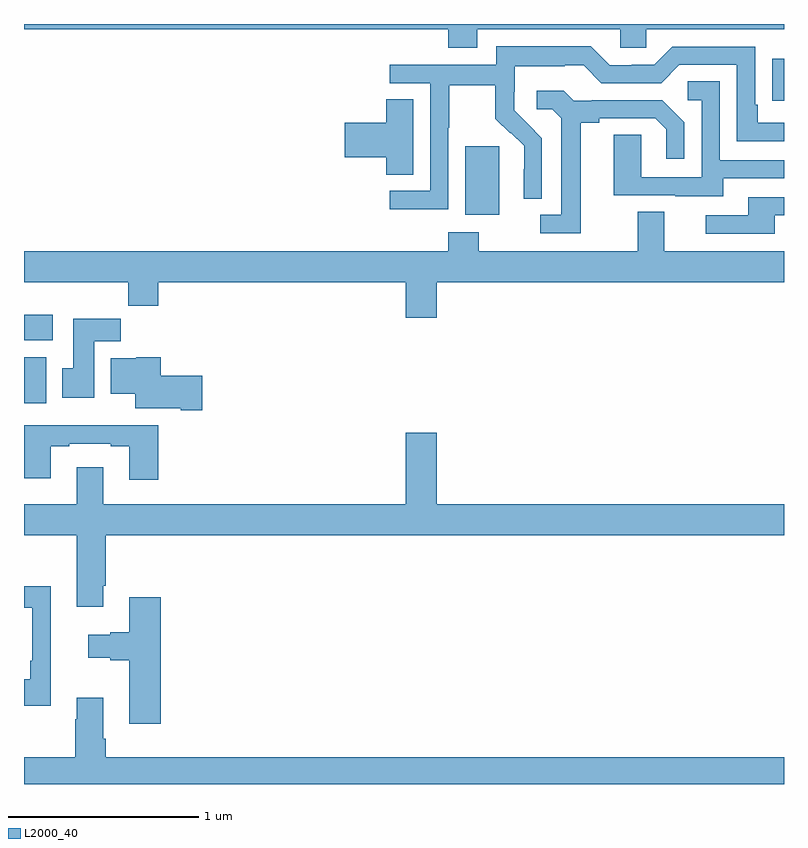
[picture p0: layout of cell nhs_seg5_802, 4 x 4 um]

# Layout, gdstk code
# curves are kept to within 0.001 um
import gdstk
lib = gdstk.Library(unit=1e-6, precision=1e-09)
def R(c, l, rs):  # rectangles x0, y0, x1, y1
    for r in rs: c.add(gdstk.rectangle(r[:2], r[2:], *l))
def P(c, l, *ps):  # polygons
    for p in ps: c.add(gdstk.Polygon(p, *l))
L2000_40 = (2000, 40)

nhs_seg5_802 = lib.new_cell('nhs_seg5_802')
R(nhs_seg5_802, L2000_40, [(163,842.804,163.117,843.046), (163,843.134,163.15,843.268), (165.323,843.794,165.502,844.155), (166.939,844.396,167,844.615)])
P(nhs_seg5_802, L2000_40, [(165.385,844.772),(166.137,844.772),(166.137,844.674),(166.275,844.674),(166.275,844.772),(167,844.772),(167,844.799),(163,844.799),(163,844.772),(165.233,844.772),(165.233,844.673),(165.385,844.673)],
  [(165.234,844.252),(165.237,844.252),(165.237,844.476),(165.481,844.476),(165.481,844.301),(165.558,844.224),(165.561,844.227),(165.632,844.157),(165.632,844.034),(165.63,844.034),(165.63,843.88),(165.726,843.88),(165.726,844.198),(165.58,844.346),(165.58,844.443),(165.582,844.443),(165.582,844.577),(165.845,844.577),(165.845,844.581),(165.945,844.581),(166.038,844.488),(166.353,844.488),(166.449,844.584),(166.752,844.584),(166.752,844.182),(167,844.182),(167,844.278),(166.861,844.278),(166.861,844.375),(166.848,844.375),(166.848,844.68),(166.413,844.68),(166.317,844.584),(166.199,844.584),(166.199,844.581),(166.083,844.581),(165.983,844.681),(165.486,844.681),(165.486,844.584),(164.925,844.584),(164.925,844.488),(165.138,844.488),(165.138,843.921),(164.925,843.921),(164.925,843.823),(165.234,843.823)],
  [(166.681,843.987),(167,843.987),(167,844.083),(166.662,844.083),(166.662,844.499),(166.494,844.499),(166.494,844.398),(166.566,844.398),(166.566,843.993),(166.248,843.993),(166.248,844.217),(166.103,844.217),(166.103,843.897),(166.427,843.897),(166.427,843.893),(166.681,843.893)],
  [(165.931,844.28),(166.027,844.28),(166.027,844.302),(166.322,844.302),(166.379,844.245),(166.379,844.089),(166.476,844.089),(166.476,844.282),(166.36,844.398),(165.988,844.398),(165.988,844.395),(165.894,844.395),(165.842,844.447),(165.699,844.447),(165.699,844.35),(165.78,844.35),(165.827,844.303),(165.827,843.795),(165.717,843.795),(165.717,843.699),(165.931,843.699)],
  [(165.049,844.403),(164.906,844.403),(164.906,844.28),(164.688,844.28),(164.688,844.097),(164.906,844.097),(164.906,844.006),(165.049,844.006)],
  [(166.951,843.792),(167,843.792),(167,843.888),(166.811,843.888),(166.811,843.792),(166.587,843.792),(166.587,843.696),(166.951,843.696)],
  [(165.172,843.44),(167,843.44),(167,843.604),(166.369,843.604),(166.369,843.812),(166.229,843.812),(166.229,843.604),(165.393,843.604),(165.393,843.703),(165.233,843.703),(165.233,843.604),(163,843.604),(163,843.44),(163.549,843.44),(163.549,843.316),(163.706,843.316),(163.706,843.44),(165.008,843.44),(165.008,843.252),(165.172,843.252)],
  [(163.369,843.128),(163.508,843.128),(163.508,843.247),(163.259,843.247),(163.259,842.988),(163.202,842.988),(163.202,842.832),(163.369,842.832)],
  [(163.939,842.948),(163.721,842.948),(163.721,843.046),(163.59,843.046),(163.59,843.04),(163.457,843.04),(163.457,842.852),(163.586,842.852),(163.586,842.777),(163.826,842.777),(163.826,842.765),(163.939,842.765)],
  [(163.706,842.686),(163.001,842.686),(163.001,842.505),(163,842.505),(163,842.408),(163.141,842.408),(163.141,842.577),(163.237,842.577),(163.237,842.589),(163.457,842.589),(163.457,842.577),(163.553,842.577),(163.553,842.4),(163.706,842.4)],
  [(163.417,841.843),(163.43,841.843),(163.43,842.108),(167,842.108),(167,842.272),(165.172,842.272),(165.172,842.647),(165.008,842.647),(165.008,842.272),(163.417,842.272),(163.417,842.467),(163.277,842.467),(163.277,842.272),(163,842.272),(163,842.108),(163.277,842.108),(163.277,841.731),(163.417,841.731)],
  [(163.142,841.84),(163,841.84),(163,841.727),(163.044,841.727),(163.044,841.447),(163.032,841.447),(163.032,841.351),(163,841.351),(163,841.211),(163.142,841.211)],
  [(163.721,841.783),(163.553,841.783),(163.553,841.598),(163.454,841.598),(163.454,841.585),(163.338,841.585),(163.338,841.463),(163.454,841.463),(163.454,841.451),(163.553,841.451),(163.553,841.116),(163.721,841.116)],
  [(167,840.94),(163.43,840.94),(163.43,841.036),(163.417,841.036),(163.417,841.252),(163.277,841.252),(163.277,841.139),(163.27,841.139),(163.27,840.94),(163,840.94),(163,840.799),(167,840.799)])

lib.write_gds('nhs_seg5_802.gds')
